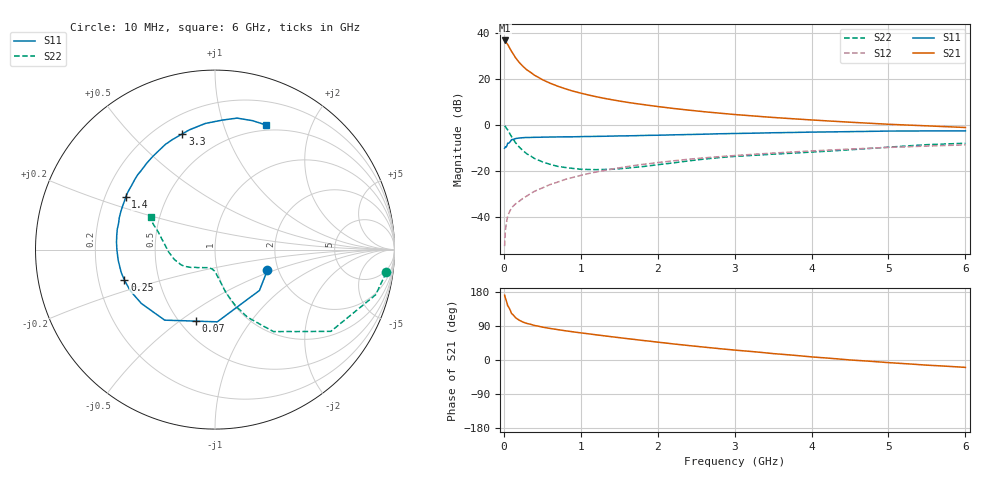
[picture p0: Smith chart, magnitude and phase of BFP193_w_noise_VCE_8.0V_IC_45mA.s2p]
! (c) 2017  Infineon Technologies AG, Munich
! Infineon Technologies  Discrete & RF Semiconductors
! BFP193
! VCE =  8.0 V,  IC =  45 mA
! Common Emitter S-Parameters:  Jan 2017
# GHz  S  MA  R  50
!  f  S11  S21  S12  S22
! GHz  MAG  ANG  MAG  ANG  MAG  ANG  MAG  ANG
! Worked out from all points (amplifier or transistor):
!   77 points, 10 MHz to 6 GHz, reference 50 ohm
!   highest |S21| = 36.9 dB at 10 MHz (marker M1)
!   |S21| within 3 dB of that: start of sweep to 70.83 MHz
!   unconditionally stable (mu >= 1): 632.6 MHz to 2.387 GHz
!   at 130 MHz: K = 0.56, MSG = 32.8 dB, |S12| = -35.0 dB
!   at 2.2 GHz: K = 1.01, MAG = 10.8 dB, |S12| = -15.6 dB
!   at 6 GHz: K = 0.91, MSG = 3.8 dB, |S12| = -8.6 dB
!   lowest NFmin = 1.45 dB at 450 MHz
!   S11 on the Smith chart (normalised r, x): 10 MHz: 1.75, -0.45; 70 MHz: 0.60, -0.58; 250 MHz: 0.31, -0.15; 1.4 GHz: 0.29, +0.25; 3.3 GHz: 0.30, +0.71; 6 GHz: 0.44, +1.39
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0.01  0.3138 -21.7  70.06 171.1  0.0023 86.2  0.9627 -7.6
0.02  0.3364 -42.6  68.53 163.5  0.005 83.7  0.9298 -15.7
0.05  0.4026 -88.2  57.33 143.3  0.0104 65.2  0.7901 -35.2
0.07  0.4121 -104.7  49.9 136.8  0.0125 61.9  0.6899 -41.4
0.1  0.4828 -125.5  40.48 122.9  0.0157 58.7  0.5611 -54.5
0.15  0.5084 -143.8  29.73 111.9  0.0191 57.4  0.4187 -64.3
0.2  0.5246 -154.0  23.24 105.0  0.0219 59.7  0.3323 -70.0
0.25  0.5327 -161.4  18.98 99.9  0.0255 60.1  0.2766 -73.4
0.3  0.5379 -166.4  15.98 96.5  0.0286 62.0  0.2363 -76.4
0.4  0.5427 -173.7  12.19 91.0  0.0362 65.1  0.187 -80.0
0.5  0.5463 -179.6  9.801 86.9  0.0427 66.0  0.1586 -83.3
0.6  0.5503 175.7  8.224 83.3  0.0506 66.9  0.1399 -86.3
0.7  0.5528 172.1  7.062 80.2  0.0573 67.7  0.1263 -88.7
0.9  0.5566 164.9  5.505 74.3  0.0726 66.7  0.1137 -95.0
1.1  0.5654 158.4  4.538 69.1  0.0879 65.7  0.1079 -101.2
1.4  0.5766 149.6  3.593 61.4  0.1098 63.0  0.109 -112.6
2.1  0.6074 130.7  2.426 44.9  0.1596 55.0  0.1434 -136.0
3.1  0.6611 109.3  1.654 24.5  0.2229 42.8  0.2126 -158.6
3.3  0.6703 105.7  1.559 20.9  0.2344 40.5  0.2223 -162.6
4.1  0.7073 92.9  1.267 6.7  0.2791 31.3  0.2642 -179.6
5.1  0.7431 79.1  1.028 -8.2  0.3307 19.8  0.3394 161.6
6  0.7499 67.9  0.888 -19.5  0.3712 9.7  0.4029 152.8
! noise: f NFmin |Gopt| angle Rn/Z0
0.45  1.45  0.4  -171  0.08
0.9  1.49  0.43  -165  0.08
1.9  2.13  0.59  -134  0.21
2.4  2.45  0.63  -119  0.45
